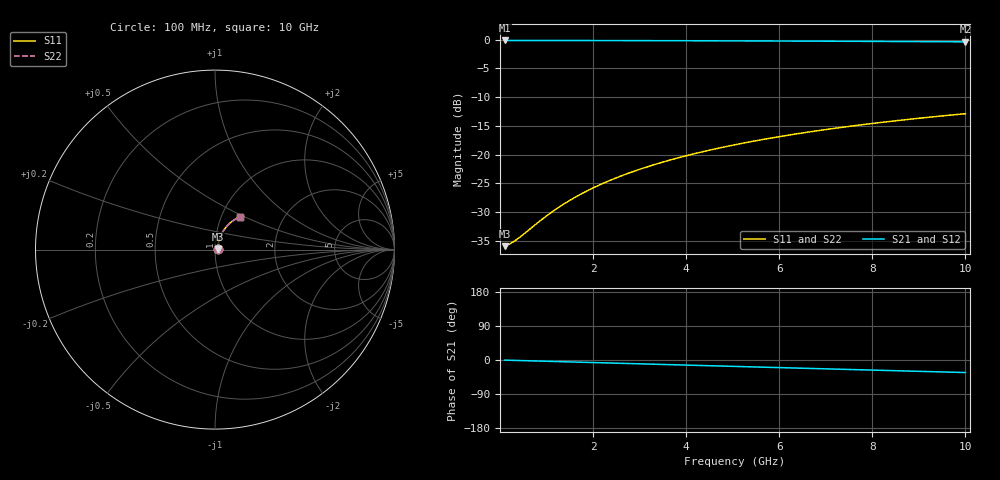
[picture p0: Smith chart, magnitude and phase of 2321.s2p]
# Hz S RI R 50.00
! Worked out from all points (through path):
!   100 points, 100 MHz to 10 GHz, reference 50 ohm
!   highest |S21| = -0.14 dB at 100 MHz (marker M1); lowest = -0.4 dB at 10 GHz (marker M2)
!   group delay of S21, straight-line fit = 9.2 ps
!   lowest |S11| = -35.9 dB at 100 MHz (marker M3), VSWR 1.03, Z = 51.6 + j0.243 ohm
!   |S11| at or under -10 dB: start of sweep to end of sweep
!   |S22| runs from -35.9 to -12.9 dB; largest |S21 - S12| = 0
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1e8  0.0158 0.00235  0.9841 -0.00578  0.9841 -0.00578  0.0158 0.00235
2e8  0.016 0.0047  0.984 -0.0116  0.984 -0.0116  0.016 0.0047
3e8  0.0161 0.00704  0.9838 -0.0173  0.9838 -0.0173  0.0161 0.00704
4e8  0.0163 0.00939  0.9836 -0.0231  0.9836 -0.0231  0.0163 0.00939
9e8  0.0174 0.0211  0.9821 -0.052  0.9821 -0.052  0.0174 0.0211
1.2e9  0.0184 0.028  0.9807 -0.0693  0.9807 -0.0693  0.0184 0.028
1.5e9  0.0196 0.035  0.9791 -0.0865  0.9791 -0.0865  0.0196 0.035
1.8e9  0.021 0.0419  0.977 -0.1037  0.977 -0.1037  0.021 0.0419
2.1e9  0.0227 0.0487  0.9747 -0.1208  0.9747 -0.1208  0.0227 0.0487
2.5e9  0.0252 0.0577  0.971 -0.1435  0.971 -0.1435  0.0252 0.0577
2.9e9  0.0282 0.0665  0.9667 -0.1661  0.9667 -0.1661  0.0282 0.0665
3.4e9  0.0325 0.0773  0.9605 -0.1941  0.9605 -0.1941  0.0325 0.0773
3.8e9  0.0364 0.0858  0.9548 -0.2162  0.9548 -0.2162  0.0364 0.0858
4.2e9  0.0407 0.094  0.9486 -0.2382  0.9486 -0.2382  0.0407 0.094
4.6e9  0.0454 0.1021  0.9419 -0.2599  0.9419 -0.2599  0.0454 0.1021
5.1e9  0.0517 0.1118  0.9326 -0.2867  0.9326 -0.2867  0.0517 0.1118
5.9e9  0.0629 0.1264  0.9161 -0.3287  0.9161 -0.3287  0.0629 0.1264
6.7e9  0.0753 0.1399  0.8975 -0.3695  0.8975 -0.3695  0.0753 0.1399
7.5e9  0.0889 0.1521  0.8771 -0.409  0.8771 -0.409  0.0889 0.1521
8.4e9  0.1053 0.1641  0.8519 -0.4517  0.8519 -0.4517  0.1053 0.1641
9.2e9  0.1208 0.1734  0.8277 -0.488  0.8277 -0.488  0.1208 0.1734
1e10  0.137 0.1811  0.8021 -0.5228  0.8021 -0.5228  0.137 0.1811
